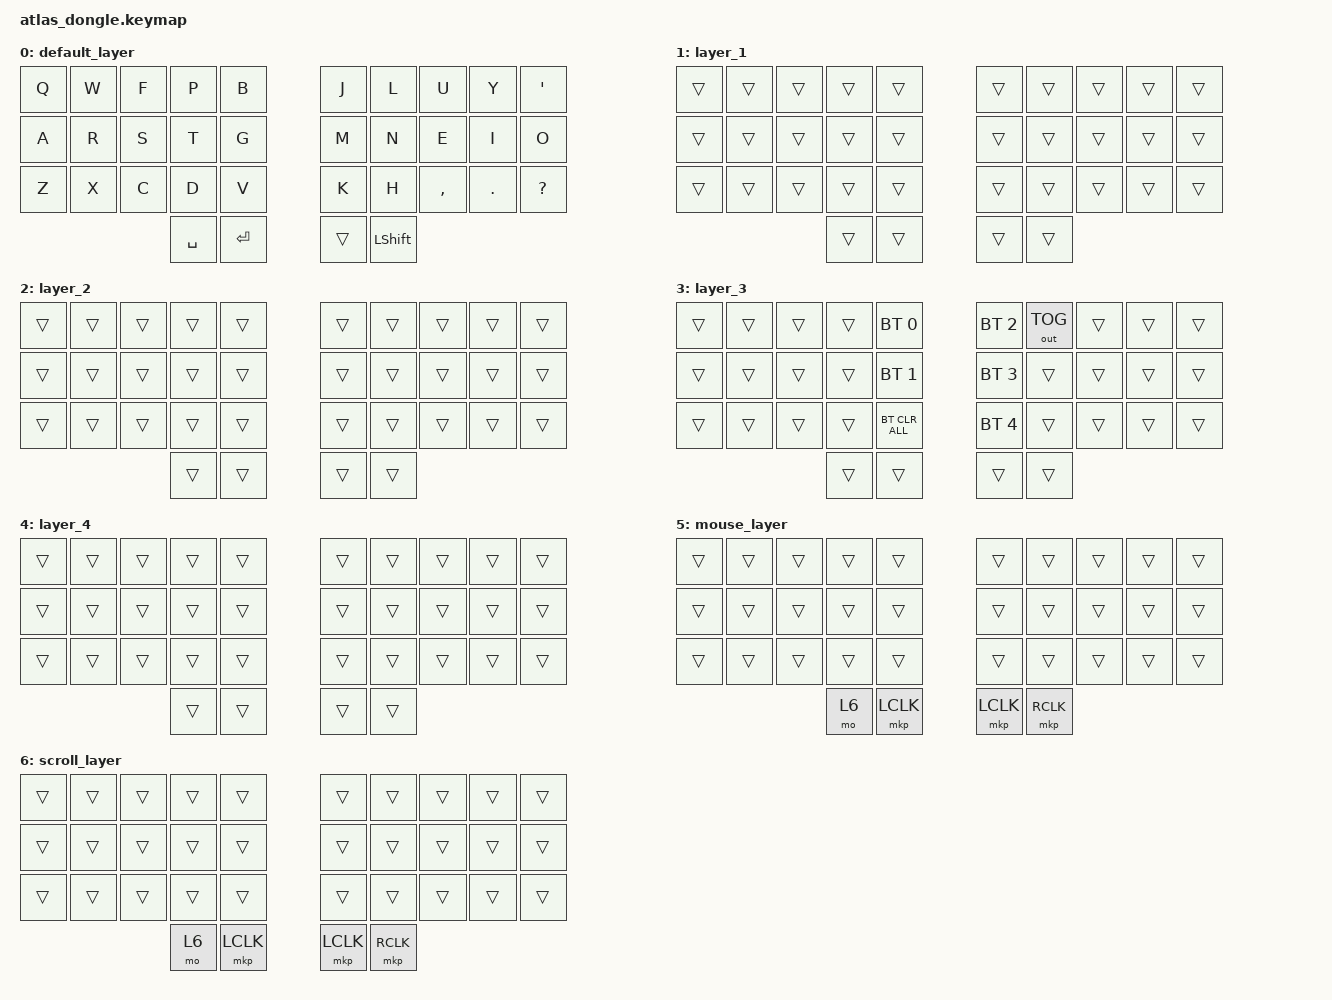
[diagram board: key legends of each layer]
/*
 * ============================================================================
 * DONGLE KEYMAP - Used by the dongle (central device)
 * ============================================================================
 * The dongle receives key events from peripherals and sends HID to the host.
 * Layer definitions here must match config/atlas.keymap for proper functionality.
 *
 * Mouse/scroll layers (5, 6) are defined here with thumb key bindings since
 * the dongle handles pointing device input processing.
 */

#include <behaviors.dtsi>
#include <dt-bindings/zmk/keys.h>
#include <dt-bindings/zmk/bt.h>
#include <dt-bindings/zmk/outputs.h>
#include <dt-bindings/zmk/mouse.h>

/ {
        keymap {
                compatible = "zmk,keymap";

                /*
                 * DEFAULT LAYER (Base layer - your main typing layer)
                 *
                 * KEYMAP STRUCTURE:
                 * - Each row is defined on a separate line
                 * - Keys are separated by spaces
                 * - The visual layout shows the physical key positions
                 * - To DISABLE a key: replace its binding with &trans (transparent/no-op)
                 * - To CHANGE a key: replace the key code (e.g., &kp Q becomes &kp Z)
                 *
                 * COMMON KEY CODES:
                 * - &kp KEYNAME (e.g., &kp Q, &kp SPACE, &kp ENTER)
                 * - &mo LAYER_NUMBER (momentary layer switch)
                 * - &mt MODIFIER KEY (mod-tap: hold for modifier, tap for key)
                 * - &lt LAYER KEY (layer-tap: hold for layer, tap for key)
                 * - &trans (transparent - key does nothing)
                 * - &bt BT_SEL N (Bluetooth device selection)
                 */
                default_layer {
//             ┏━━━━━━━━━━━┳━━━━━━━━━━━┳━━━━━━━━━━━┳━━━━━━━━━━━┳━━━━━━━━━━━┓   ┏━━━━━━━━━━━┳━━━━━━━━━━━┳━━━━━━━━━━━┳━━━━━━━━━━━┳━━━━━━━━━━━┓
//             ┃     Q     ┃     W     ┃     F     ┃     P     ┃     B     ┃   ┃     J     ┃     L     ┃     U     ┃     Y     ┃     '     ┃
//             ┣━━━━━━━━━━━╋━━━━━━━━━━━╋━━━━━━━━━━━╋━━━━━━━━━━━╋━━━━━━━━━━━┫   ┣━━━━━━━━━━━╋━━━━━━━━━━━╋━━━━━━━━━━━╋━━━━━━━━━━━╋━━━━━━━━━━━┫
//             ┃     A     ┃     R     ┃     S     ┃     T     ┃     G     ┃   ┃     M     ┃     N     ┃     E     ┃     I     ┃     O     ┃
//             ┣━━━━━━━━━━━╋━━━━━━━━━━━╋━━━━━━━━━━━╋━━━━━━━━━━━╋━━━━━━━━━━━┫   ┣━━━━━━━━━━━╋━━━━━━━━━━━╋━━━━━━━━━━━╋━━━━━━━━━━━╋━━━━━━━━━━━┫
//             ┃     Z     ┃     X     ┃     C     ┃     D     ┃     V     ┃   ┃     K     ┃     H     ┃     ,     ┃     .     ┃     ?     ┃
//             ┗━━━━━━━━━━━┻━━━━━━━━━━━┻━━━━━━━━━━━╋━━━━━━━━━━━╋━━━━━━━━━━━┫   ┣━━━━━━━━━━━╋━━━━━━━━━━━╋━━━━━━━━━━━┻━━━━━━━━━━━┻━━━━━━━━━━━┛
//                                                 ┃    SPC    ┃   ENTER   ┃   ┃    NUM    ┃   SHIFT   ┃
//                                                 ┗━━━━━━━━━━━┻━━━━━━━━━━━┛   ┗━━━━━━━━━━━┻━━━━━━━━━━━┛
                        bindings = <
                &kp Q       &kp W       &kp F       &kp P       &kp B           &kp J       &kp L       &kp U       &kp Y       &kp SQT
                &kp A       &kp R       &kp S       &kp T       &kp G           &kp M       &kp N       &kp E       &kp I       &kp O
                &kp Z       &kp X       &kp C       &kp D       &kp V           &kp K       &kp H       &kp COMMA   &kp DOT     &kp QMARK
                                                    &kp SPACE   &kp ENTER       &trans      &kp LSHFT
                        >;
                };

                /* Placeholder layers 1-4 (required for layer 5 to work) */
                layer_1 { bindings = <
                        &trans &trans &trans &trans &trans    &trans &trans &trans &trans &trans
                        &trans &trans &trans &trans &trans    &trans &trans &trans &trans &trans
                        &trans &trans &trans &trans &trans    &trans &trans &trans &trans &trans
                                              &trans &trans    &trans &trans
                >; };
                layer_2 { bindings = <
                        &trans &trans &trans &trans &trans    &trans &trans &trans &trans &trans
                        &trans &trans &trans &trans &trans    &trans &trans &trans &trans &trans
                        &trans &trans &trans &trans &trans    &trans &trans &trans &trans &trans
                                              &trans &trans    &trans &trans
                >; };
                /* TRI LAYER (Layer 3) - BT/Output controls (must run on dongle) */
                layer_3 { bindings = <
                //      │         │         │         │ BT_SEL 0 │    │ BT_SEL 2 │ OUT_TOG  │         │         │         │
                        &trans &trans &trans &trans &bt BT_SEL 0    &bt BT_SEL 2 &out OUT_TOG &trans &trans &trans
                //      │         │         │         │ BT_SEL 1 │    │ BT_SEL 3 │          │         │         │         │
                        &trans &trans &trans &trans &bt BT_SEL 1    &bt BT_SEL 3 &trans &trans &trans &trans
                //      │         │         │         │BT_CLR_ALL│    │ BT_SEL 4 │          │         │         │         │
                        &trans &trans &trans &trans &bt BT_CLR_ALL  &bt BT_SEL 4 &trans &trans &trans &trans
                                              &trans &trans    &trans &trans
                >; };
                layer_4 { bindings = <
                        &trans &trans &trans &trans &trans    &trans &trans &trans &trans &trans
                        &trans &trans &trans &trans &trans    &trans &trans &trans &trans &trans
                        &trans &trans &trans &trans &trans    &trans &trans &trans &trans &trans
                                              &trans &trans    &trans &trans
                >; };

                /*
                 * MOUSE LAYER (Layer 5) - Auto-activates on trackball/trackpoint movement
                 * Thumb keys become: SCROLL | LEFT CLICK | LEFT CLICK | RIGHT CLICK
                 */
                mouse_layer {
                        bindings = <
                        &trans &trans &trans &trans &trans    &trans &trans &trans &trans &trans
                        &trans &trans &trans &trans &trans    &trans &trans &trans &trans &trans
                        &trans &trans &trans &trans &trans    &trans &trans &trans &trans &trans
                                              &mo 6  &mkp LCLK     &mkp LCLK &mkp RCLK
                        >;
                };

                /* SCROLL LAYER (Layer 6) - Hold left thumb 1 for scroll mode */
                scroll_layer {
                        bindings = <
                        &trans &trans &trans &trans &trans    &trans &trans &trans &trans &trans
                        &trans &trans &trans &trans &trans    &trans &trans &trans &trans &trans
                        &trans &trans &trans &trans &trans    &trans &trans &trans &trans &trans
                                              &mo 6  &mkp LCLK     &mkp LCLK &mkp RCLK
                        >;
                };
        };
};
